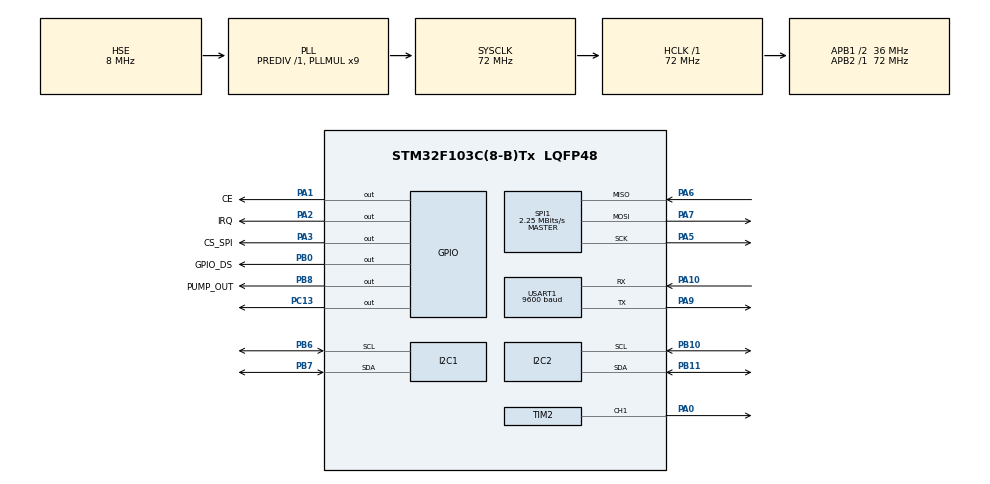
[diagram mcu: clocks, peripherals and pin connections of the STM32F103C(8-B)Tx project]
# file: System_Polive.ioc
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Mcu.Family=STM32F1
Mcu.Name=STM32F103C(8-B)Tx
Mcu.Package=LQFP48
NVIC.I2C1_ER_IRQn=true\:0\:0\:false\:false\:true
NVIC.I2C1_EV_IRQn=true\:0\:0\:false\:false\:true
NVIC.I2C2_ER_IRQn=true\:0\:0\:false\:false\:true
NVIC.I2C2_EV_IRQn=true\:0\:0\:false\:false\:true
NVIC.PriorityGroup=NVIC_PRIORITYGROUP_4
NVIC.TIM2_IRQn=true\:0\:0\:false\:false\:true
NVIC.USART1_IRQn=true\:0\:0\:false\:false\:true
PA0-WKUP.GPIO_Speed=GPIO_SPEED_FREQ_HIGH
PA0-WKUP.Signal=S_TIM2_CH1_ETR
PA1.GPIO_Label=CE
PA1.Signal=GPIO_Output
PA10.Mode=Asynchronous
PA10.Signal=USART1_RX
PA13.Mode=Serial_Wire
PA13.Signal=SYS_JTMS-SWDIO
PA14.Mode=Serial_Wire
PA14.Signal=SYS_JTCK-SWCLK
PA2.GPIO_Label=IRQ
PA2.Signal=GPIO_Output
PA3.GPIO_Label=CS_SPI
PA3.Signal=GPIO_Output
PA5.Mode=Full_Duplex_Master
PA5.Signal=SPI1_SCK
PA6.Mode=Full_Duplex_Master
PA6.Signal=SPI1_MISO
PA7.Mode=Full_Duplex_Master
PA7.Signal=SPI1_MOSI
PA9.Mode=Asynchronous
PA9.Signal=USART1_TX
PB0.GPIO_Label=GPIO_DS
PB0.GPIO_Speed=GPIO_SPEED_FREQ_MEDIUM
PB0.Signal=GPIO_Output
PB10.Mode=I2C
PB10.Signal=I2C2_SCL
PB11.Mode=I2C
PB11.Signal=I2C2_SDA
PB6.Mode=I2C
PB6.Signal=I2C1_SCL
PB7.Mode=I2C
PB7.Signal=I2C1_SDA
PB8.GPIO_Label=PUMP_OUT
PB8.Signal=GPIO_Output
PC13-TAMPER-RTC.GPIO_Speed=GPIO_SPEED_FREQ_MEDIUM
PC13-TAMPER-RTC.Signal=GPIO_Output
PD0-OSC_IN.Mode=HSE-External-Oscillator
PD0-OSC_IN.Signal=RCC_OSC_IN
PD1-OSC_OUT.Mode=HSE-External-Oscillator
PD1-OSC_OUT.Signal=RCC_OSC_OUT
ProjectManager.HeapSize=0x200
ProjectManager.StackSize=0x400
ProjectManager.TargetToolchain=MDK-ARM V5
RCC.AHBFreq_Value=72000000
RCC.APB1CLKDivider=RCC_HCLK_DIV2
RCC.APB1Freq_Value=36000000
RCC.APB1TimFreq_Value=72000000
RCC.APB2Freq_Value=72000000
RCC.APB2TimFreq_Value=72000000
RCC.HCLKFreq_Value=72000000
RCC.PLLMUL=RCC_PLL_MUL9
RCC.PLLSourceVirtual=RCC_PLLSOURCE_HSE
RCC.SYSCLKFreq_VALUE=72000000
RCC.SYSCLKSource=RCC_SYSCLKSOURCE_PLLCLK
RCC.USBFreq_Value=72000000
SH.S_TIM2_CH1_ETR.0=TIM2_CH1,PWM Generation1 CH1
SPI1.BaudRatePrescaler=SPI_BAUDRATEPRESCALER_32
SPI1.CalculateBaudRate=2.25 MBits/s
SPI1.Direction=SPI_DIRECTION_2LINES
SPI1.Mode=SPI_MODE_MASTER
SPI1.VirtualType=VM_MASTER
TIM2.Channel-PWM\ Generation1\ CH1=TIM_CHANNEL_1
USART1.BaudRate=9600
USART1.VirtualMode=VM_ASYNC
VP_TIM2_VS_ClockSourceINT.Mode=Internal
board=System_Polive

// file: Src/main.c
/**
  ******************************************************************************
  * File Name          : main.c
  * Description        : Main program body
  ******************************************************************************
  ** This notice applies to any and all portions of this file
  * that are not between comment pairs USER CODE BEGIN and
  * USER CODE END. Other portions of this file, whether
  * inserted by the user or by software development tools
  * are owned by their respective copyright owners.
  *
  * COPYRIGHT(c) 2018 STMicroelectronics
  *
  * Redistribution and use in source and binary forms, with or without modification,
  * are permitted provided that the following conditions are met:
  *   1. Redistributions of source code must retain the above copyright notice,
  *      this list of conditions and the following disclaimer.
  *   2. Redistributions in binary form must reproduce the above copyright notice,
  *      this list of conditions and the following disclaimer in the documentation
  *      and/or other materials provided with the distribution.
  *   3. Neither the name of STMicroelectronics nor the names of its contributors
  *      may be used to endorse or promote products derived from this software
  *      without specific prior written permission.
  *
  * THIS SOFTWARE IS PROVIDED BY THE COPYRIGHT HOLDERS AND CONTRIBUTORS "AS IS"
  * AND ANY EXPRESS OR IMPLIED WARRANTIES, INCLUDING, BUT NOT LIMITED TO, THE
  * IMPLIED WARRANTIES OF MERCHANTABILITY AND FITNESS FOR A PARTICULAR PURPOSE ARE
  * DISCLAIMED. IN NO EVENT SHALL THE COPYRIGHT HOLDER OR CONTRIBUTORS BE LIABLE
  * FOR ANY DIRECT, INDIRECT, INCIDENTAL, SPECIAL, EXEMPLARY, OR CONSEQUENTIAL
  * DAMAGES (INCLUDING, BUT NOT LIMITED TO, PROCUREMENT OF SUBSTITUTE GOODS OR
  * SERVICES; LOSS OF USE, DATA, OR PROFITS; OR BUSINESS INTERRUPTION) HOWEVER
  * CAUSED AND ON ANY THEORY OF LIABILITY, WHETHER IN CONTRACT, STRICT LIABILITY,
  * OR TORT (INCLUDING NEGLIGENCE OR OTHERWISE) ARISING IN ANY WAY OUT OF THE USE
  * OF THIS SOFTWARE, EVEN IF ADVISED OF THE POSSIBILITY OF SUCH DAMAGE.
  *
  ******************************************************************************
  */
#include "main.h"
#include "stm32f1xx_hal.h"

I2C_HandleTypeDef hi2c1;
I2C_HandleTypeDef hi2c2;

SPI_HandleTypeDef hspi1;

TIM_HandleTypeDef htim2;

UART_HandleTypeDef huart1;

/* USER CODE BEGIN PV */
/* Private variables ---------------------------------------------------------*/
uint8_t aTxBuffer[8];
uint8_t aSettingBuffer[8];
uint32_t i=0;
uint8_t sec=0,min=0,hour=0,day=0,date=0,month=0,year=0;
uint8_t flagWork=0;
char buff1[60];

char Mes[2][10]=
		{
			"ON\0",
			"OFF\0"
	};
/* USER CODE END PV */

void SystemClock_Config(void);
static void MX_GPIO_Init(void);
static void MX_I2C1_Init(void);
static void MX_USART1_UART_Init(void);
static void MX_SPI1_Init(void);
static void MX_TIM2_Init(void);
static void MX_I2C2_Init(void);

void HAL_TIM_MspPostInit(TIM_HandleTypeDef *htim);

/* USER CODE BEGIN PFP */
/* Private function prototypes -----------------------------------------------*/

/* USER CODE END PFP */

/* USER CODE BEGIN 0 */

/*
================================Функция индикации времени=============================
*/
void PrintTimeLCD(void)
{
	LCD_GOTOXY(5,3);
  hour=aTxBuffer[2];
  hour = RTC_ConvertFromDec(hour); //Преобразуем в десятичный формат
  LCD_printchar((char) ((hour/10)%10) + 0x30);
  LCD_printchar((char) (hour%10) + 0x30);
  LCD_printchar(':');
  min=aTxBuffer[1];
  min = RTC_ConvertFromDec(min); //Преобразуем в десятичный формат
  LCD_printchar((char) ((min/10)%10) + 0x30);
  LCD_printchar((char) (min%10) + 0x30);
  LCD_printchar(':');
	sec=aTxBuffer[0];
	sec = RTC_ConvertFromDec(sec); //Преобразуем в десятичный формат
  LCD_printchar((char) ((sec/10)%10) + 0x30);
  LCD_printchar((char) (sec%10) + 0x30);
}
//--------------------------------------------------------------------------------------

/*
=============================Функция вкл/выкл. нагрузки=================================
*/
void Switch_PUMP_OUT(uint8_t flag)
{
	if(flag==PUMP_ON)
	{
		HAL_GPIO_WritePin(GPIOB,PUMP_OUT_Pin,GPIO_PIN_SET);
	}
	else if(flag==PUMP_OFF)
	{
		HAL_GPIO_WritePin(GPIOB,PUMP_OUT_Pin,GPIO_PIN_RESET);
	}
}

//--------------------------------------------------------------------------------------
//--------------------------------------------------

void ClearBuf(char str[],uint8_t size)
{
	for(int i=0;i<size;i++)
	{
		str[i]=0;
	}
}
/* USER CODE END 0 */

int main(void)
{

  /* USER CODE BEGIN 1 */
	char reBuf[10]={0};
  /* USER CODE END 1 */

  /* MCU Configuration----------------------------------------------------------*/

  /* Reset of all peripherals, Initializes the Flash interface and the Systick. */
  HAL_Init();

  /* Configure the system clock */
  SystemClock_Config();

  /* Initialize all configured peripherals */
  MX_GPIO_Init();
  MX_I2C1_Init();
  MX_USART1_UART_Init();
  MX_SPI1_Init();
  MX_TIM2_Init();
  MX_I2C2_Init();

  /* USER CODE BEGIN 2 */
	LCD_ini();
	LCD_clear();

	LCD_PrintStringXY("Hello World User",2,0);
	HAL_Delay(1000);
	LCD_clear();

	HAL_UART_Receive_IT(&huart1,(uint8_t *)reBuf,2);
	/* USER CODE END 2 */

  /* Infinite loop */
  /* USER CODE BEGIN WHILE */

  while (1)
  {
		LCD_PrintStringXY("System Work",4,0);
		HAL_Delay(100);
		HAL_UART_Transmit(&huart1,(uint8_t *)reBuf,strlen(reBuf),0x1000);
		LCD_PrintStringXY(reBuf,0,0);

		int stat=strcmp(reBuf,Mes[0]);
		if(stat==0)
		{
			LCD_PrintStringXY("ON  NAsos",0,1);
			HAL_Delay(1000);
		}
		else
		{
			LCD_PrintStringXY("OFF NAsos",0,1);
		}
		ClearBuf(reBuf,8);

		HAL_UART_Receive_IT(&huart1,(uint8_t *)reBuf,2);

		LCD_GOTOXY(5,3);
    aTxBuffer[0]=0;
    I2C_WriteBuffer((uint16_t)0xD0,1);
    while (HAL_I2C_GetState(&hi2c1) != HAL_I2C_STATE_READY)
    {
    }
		I2C_ReadBuffer((uint16_t)0xD0,7);
		PrintTimeLCD();

		if(stat==0)
		{
			LCD_PrintStringXY("ON  NAsos",0,1);
			Switch_PUMP_OUT(PUMP_ON);
			HAL_Delay(8000);
		}
		else
		{
			if(hour==15 || hour==19)
			{
				if(min<5)
				{
					Switch_PUMP_OUT(PUMP_ON);
				}
				else
				{
					Switch_PUMP_OUT(PUMP_OFF);
				}

			}
			else
			{
				Switch_PUMP_OUT(PUMP_OFF);
				LCD_PrintStringXY("OFF NAsos",0,1);
			}

		}

  }
  /* USER CODE END 3 */

}

/** System Clock Configuration
*/
void SystemClock_Config(void)
{

  RCC_OscInitTypeDef RCC_OscInitStruct;
  RCC_ClkInitTypeDef RCC_ClkInitStruct;

    /**Initializes the CPU, AHB and APB busses clocks
    */
  RCC_OscInitStruct.OscillatorType = RCC_OSCILLATORTYPE_HSE;
  RCC_OscInitStruct.HSEState = RCC_HSE_ON;
  RCC_OscInitStruct.HSEPredivValue = RCC_HSE_PREDIV_DIV1;
  RCC_OscInitStruct.HSIState = RCC_HSI_ON;
  RCC_OscInitStruct.PLL.PLLState = RCC_PLL_ON;
  RCC_OscInitStruct.PLL.PLLSource = RCC_PLLSOURCE_HSE;
  RCC_OscInitStruct.PLL.PLLMUL = RCC_PLL_MUL9;
  if (HAL_RCC_OscConfig(&RCC_OscInitStruct) != HAL_OK)
  {
    _Error_Handler(__FILE__, __LINE__);
  }

    /**Initializes the CPU, AHB and APB busses clocks
    */
  RCC_ClkInitStruct.ClockType = RCC_CLOCKTYPE_HCLK|RCC_CLOCKTYPE_SYSCLK
                              |RCC_CLOCKTYPE_PCLK1|RCC_CLOCKTYPE_PCLK2;
  RCC_ClkInitStruct.SYSCLKSource = RCC_SYSCLKSOURCE_PLLCLK;
  RCC_ClkInitStruct.AHBCLKDivider = RCC_SYSCLK_DIV1;
  RCC_ClkInitStruct.APB1CLKDivider = RCC_HCLK_DIV2;
  RCC_ClkInitStruct.APB2CLKDivider = RCC_HCLK_DIV1;

  if (HAL_RCC_ClockConfig(&RCC_ClkInitStruct, FLASH_LATENCY_2) != HAL_OK)
  {
    _Error_Handler(__FILE__, __LINE__);
  }

    /**Configure the Systick interrupt time
    */
  HAL_SYSTICK_Config(HAL_RCC_GetHCLKFreq()/1000);

    /**Configure the Systick
    */
  HAL_SYSTICK_CLKSourceConfig(SYSTICK_CLKSOURCE_HCLK);

  /* SysTick_IRQn interrupt configuration */
  HAL_NVIC_SetPriority(SysTick_IRQn, 0, 0);
}

/* I2C1 init function */
static void MX_I2C1_Init(void)
{

  hi2c1.Instance = I2C1;
  hi2c1.Init.ClockSpeed = 100000;
  hi2c1.Init.DutyCycle = I2C_DUTYCYCLE_2;
  hi2c1.Init.OwnAddress1 = 0;
  hi2c1.Init.AddressingMode = I2C_ADDRESSINGMODE_7BIT;
  hi2c1.Init.DualAddressMode = I2C_DUALADDRESS_DISABLE;
  hi2c1.Init.OwnAddress2 = 0;
  hi2c1.Init.GeneralCallMode = I2C_GENERALCALL_DISABLE;
  hi2c1.Init.NoStretchMode = I2C_NOSTRETCH_DISABLE;
  if (HAL_I2C_Init(&hi2c1) != HAL_OK)
  {
    _Error_Handler(__FILE__, __LINE__);
  }

}

/* I2C2 init function */
static void MX_I2C2_Init(void)
{

  hi2c2.Instance = I2C2;
  hi2c2.Init.ClockSpeed = 100000;
  hi2c2.Init.DutyCycle = I2C_DUTYCYCLE_2;
  hi2c2.Init.OwnAddress1 = 0;
  hi2c2.Init.AddressingMode = I2C_ADDRESSINGMODE_7BIT;
  hi2c2.Init.DualAddressMode = I2C_DUALADDRESS_DISABLE;
  hi2c2.Init.OwnAddress2 = 0;
  hi2c2.Init.GeneralCallMode = I2C_GENERALCALL_DISABLE;
  hi2c2.Init.NoStretchMode = I2C_NOSTRETCH_DISABLE;
  if (HAL_I2C_Init(&hi2c2) != HAL_OK)
  {
    _Error_Handler(__FILE__, __LINE__);
  }

}

/* SPI1 init function */
static void MX_SPI1_Init(void)
{

  hspi1.Instance = SPI1;
  hspi1.Init.Mode = SPI_MODE_MASTER;
  hspi1.Init.Direction = SPI_DIRECTION_2LINES;
  hspi1.Init.DataSize = SPI_DATASIZE_8BIT;
  hspi1.Init.CLKPolarity = SPI_POLARITY_LOW;
  hspi1.Init.CLKPhase = SPI_PHASE_1EDGE;
  hspi1.Init.NSS = SPI_NSS_SOFT;
  hspi1.Init.BaudRatePrescaler = SPI_BAUDRATEPRESCALER_32;
  hspi1.Init.FirstBit = SPI_FIRSTBIT_MSB;
  hspi1.Init.TIMode = SPI_TIMODE_DISABLE;
  hspi1.Init.CRCCalculation = SPI_CRCCALCULATION_DISABLE;
  hspi1.Init.CRCPolynomial = 10;
  if (HAL_SPI_Init(&hspi1) != HAL_OK)
  {
    _Error_Handler(__FILE__, __LINE__);
  }

}

/* TIM2 init function */
static void MX_TIM2_Init(void)
{

  TIM_ClockConfigTypeDef sClockSourceConfig;
  TIM_MasterConfigTypeDef sMasterConfig;
  TIM_OC_InitTypeDef sConfigOC;

  htim2.Instance = TIM2;
  htim2.Init.Prescaler = 0;
  htim2.Init.CounterMode = TIM_COUNTERMODE_UP;
  htim2.Init.Period = 0;
  htim2.Init.ClockDivision = TIM_CLOCKDIVISION_DIV1;
  if (HAL_TIM_Base_Init(&htim2) != HAL_OK)
  {
    _Error_Handler(__FILE__, __LINE__);
  }

  sClockSourceConfig.ClockSource = TIM_CLOCKSOURCE_INTERNAL;
  if (HAL_TIM_ConfigClockSource(&htim2, &sClockSourceConfig) != HAL_OK)
  {
    _Error_Handler(__FILE__, __LINE__);
  }

  if (HAL_TIM_PWM_Init(&htim2) != HAL_OK)
  {
    _Error_Handler(__FILE__, __LINE__);
  }

  sMasterConfig.MasterOutputTrigger = TIM_TRGO_RESET;
  sMasterConfig.MasterSlaveMode = TIM_MASTERSLAVEMODE_DISABLE;
  if (HAL_TIMEx_MasterConfigSynchronization(&htim2, &sMasterConfig) != HAL_OK)
  {
    _Error_Handler(__FILE__, __LINE__);
  }

  sConfigOC.OCMode = TIM_OCMODE_PWM1;
  sConfigOC.Pulse = 0;
  sConfigOC.OCPolarity = TIM_OCPOLARITY_HIGH;
  sConfigOC.OCFastMode = TIM_OCFAST_DISABLE;
  if (HAL_TIM_PWM_ConfigChannel(&htim2, &sConfigOC, TIM_CHANNEL_1) != HAL_OK)
  {
    _Error_Handler(__FILE__, __LINE__);
  }

  HAL_TIM_MspPostInit(&htim2);

}

/* USART1 init function */
static void MX_USART1_UART_Init(void)
{

  huart1.Instance = USART1;
  huart1.Init.BaudRate = 9600;
  huart1.Init.WordLength = UART_WORDLENGTH_8B;
  huart1.Init.StopBits = UART_STOPBITS_1;
  huart1.Init.Parity = UART_PARITY_NONE;
  huart1.Init.Mode = UART_MODE_TX_RX;
  huart1.Init.HwFlowCtl = UART_HWCONTROL_NONE;
  huart1.Init.OverSampling = UART_OVERSAMPLING_16;
  if (HAL_UART_Init(&huart1) != HAL_OK)
  {
    _Error_Handler(__FILE__, __LINE__);
  }

}

/** Configure pins as
        * Analog
        * Input
        * Output
        * EVENT_OUT
        * EXTI
*/
static void MX_GPIO_Init(void)
{

  GPIO_InitTypeDef GPIO_InitStruct;

  /* GPIO Ports Clock Enable */
  __HAL_RCC_GPIOC_CLK_ENABLE();
  __HAL_RCC_GPIOD_CLK_ENABLE();
  __HAL_RCC_GPIOA_CLK_ENABLE();
  __HAL_RCC_GPIOB_CLK_ENABLE();

  /*Configure GPIO pin Output Level */
  HAL_GPIO_WritePin(GPIOC, GPIO_PIN_13, GPIO_PIN_RESET);

  /*Configure GPIO pin Output Level */
  HAL_GPIO_WritePin(GPIOA, CE_Pin|IRQ_Pin|CS_SPI_Pin, GPIO_PIN_RESET);

  /*Configure GPIO pin Output Level */
  HAL_GPIO_WritePin(GPIOB, GPIO_DS_Pin|PUMP_OUT_Pin, GPIO_PIN_RESET);

  /*Configure GPIO pin : PC13 */
  GPIO_InitStruct.Pin = GPIO_PIN_13;
  GPIO_InitStruct.Mode = GPIO_MODE_OUTPUT_PP;
  GPIO_InitStruct.Speed = GPIO_SPEED_FREQ_MEDIUM;
  HAL_GPIO_Init(GPIOC, &GPIO_InitStruct);

  /*Configure GPIO pins : CE_Pin IRQ_Pin CS_SPI_Pin */
  GPIO_InitStruct.Pin = CE_Pin|IRQ_Pin|CS_SPI_Pin;
  GPIO_InitStruct.Mode = GPIO_MODE_OUTPUT_PP;
  GPIO_InitStruct.Speed = GPIO_SPEED_FREQ_LOW;
  HAL_GPIO_Init(GPIOA, &GPIO_InitStruct);

  /*Configure GPIO pin : GPIO_DS_Pin */
  GPIO_InitStruct.Pin = GPIO_DS_Pin;
  GPIO_InitStruct.Mode = GPIO_MODE_OUTPUT_PP;
  GPIO_InitStruct.Speed = GPIO_SPEED_FREQ_MEDIUM;
  HAL_GPIO_Init(GPIO_DS_GPIO_Port, &GPIO_InitStruct);

  /*Configure GPIO pin : PUMP_OUT_Pin */
  GPIO_InitStruct.Pin = PUMP_OUT_Pin;
  GPIO_InitStruct.Mode = GPIO_MODE_OUTPUT_PP;
  GPIO_InitStruct.Speed = GPIO_SPEED_FREQ_LOW;
  HAL_GPIO_Init(PUMP_OUT_GPIO_Port, &GPIO_InitStruct);

}

void _Error_Handler(char * file, int line)
{
  while(1)
  {
  }
}

/************************ (C) COPYRIGHT STMicroelectronics *****END OF FILE****/
